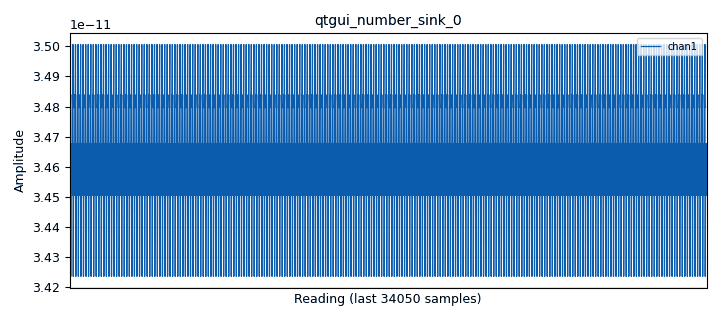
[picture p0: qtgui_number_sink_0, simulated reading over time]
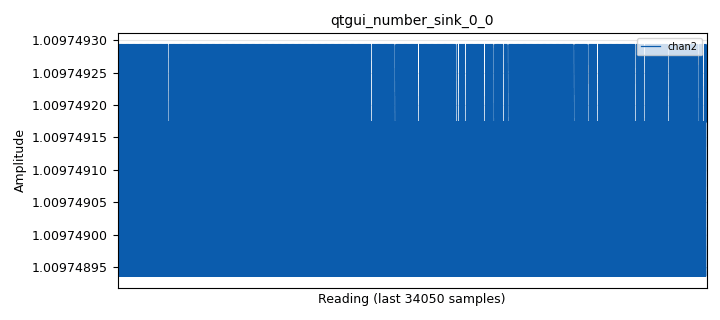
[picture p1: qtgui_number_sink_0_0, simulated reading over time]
<?xml version='1.0' encoding='utf-8'?>
<?grc format='1' created='3.7.14'?>
<flow_graph>
<block>
<key>options</key>
<param><key>id</key><value>top_block</value></param>
<param><key>generate_options</key><value>qt_gui</value></param>
</block>
<block>
<key>variable</key>
<param><key>id</key><value>samp_rate</value></param>
<param><key>value</key><value>32000</value></param>
</block>
<block>
<key>variable_qtgui_range</key>
<param><key>id</key><value>variable_qtgui_range_0</value></param>
<param><key>value</key><value>1000</value></param>
<param><key>orient</key><value>Qt.Horizontal</value></param>
<param><key>start</key><value>0</value></param>
<param><key>step</key><value>1</value></param>
<param><key>stop</key><value>3200</value></param>
</block>
<block>
<key>analog_sig_source_x</key>
<param><key>id</key><value>analog_sig_source_x_0</value></param>
<param><key>amp</key><value>1</value></param>
<param><key>freq</key><value>variable_qtgui_range_0</value></param>
<param><key>offset</key><value>0</value></param>
<param><key>type</key><value>complex</value></param>
<param><key>samp_rate</key><value>samp_rate</value></param>
<param><key>waveform</key><value>analog.GR_COS_WAVE</value></param>
</block>
<block>
<key>blocks_complex_to_mag_squared</key>
<param><key>id</key><value>blocks_complex_to_mag_squared_0</value></param>
</block>
<block>
<key>blocks_complex_to_mag_squared</key>
<param><key>id</key><value>blocks_complex_to_mag_squared_0_0</value></param>
</block>
<block>
<key>blocks_complex_to_mag_squared</key>
<param><key>id</key><value>blocks_complex_to_mag_squared_0_0_0</value></param>
</block>
<block>
<key>blocks_throttle</key>
<param><key>id</key><value>blocks_throttle_0</value></param>
<param><key>samples_per_second</key><value>samp_rate</value></param>
<param><key>type</key><value>complex</value></param>
</block>
<block>
<key>pfb_channelizer_ccf</key>
<param><key>id</key><value>pfb_channelizer_ccf_0</value></param>
<param><key>atten</key><value>100</value></param>
<param><key>bus_conns</key><value>[[0,],]</value></param>
<param><key>ch_map</key><value>[]</value></param>
<param><key>nchans</key><value>3</value></param>
<param><key>osr</key><value>1.0</value></param>
</block>
<block>
<key>qtgui_number_sink</key>
<param><key>id</key><value>qtgui_number_sink_0</value></param>
<param><key>graph_type</key><value>qtgui.NUM_GRAPH_HORIZ</value></param>
<param><key>type</key><value>float</value></param>
<param><key>label1</key><value>chan1</value></param>
</block>
<block>
<key>qtgui_number_sink</key>
<param><key>id</key><value>qtgui_number_sink_0_0</value></param>
<param><key>graph_type</key><value>qtgui.NUM_GRAPH_HORIZ</value></param>
<param><key>type</key><value>float</value></param>
<param><key>label1</key><value>chan2</value></param>
</block>
<block>
<key>qtgui_number_sink</key>
<param><key>id</key><value>qtgui_number_sink_0_0_0</value></param>
<param><key>graph_type</key><value>qtgui.NUM_GRAPH_HORIZ</value></param>
<param><key>type</key><value>float</value></param>
<param><key>label1</key><value>chan3</value></param>
</block>
<block>
<key>rational_resampler_xxx</key>
<param><key>id</key><value>rational_resampler_xxx_0</value></param>
<param><key>decim</key><value>10</value></param>
<param><key>interp</key><value>1</value></param>
<param><key>taps</key><value></value></param>
<param><key>type</key><value>ccc</value></param>
</block>
<connection><source_block_id>analog_sig_source_x_0</source_block_id><sink_block_id>blocks_throttle_0</sink_block_id><source_key>0</source_key><sink_key>0</sink_key></connection>
<connection><source_block_id>blocks_complex_to_mag_squared_0</source_block_id><sink_block_id>qtgui_number_sink_0</sink_block_id><source_key>0</source_key><sink_key>0</sink_key></connection>
<connection><source_block_id>blocks_complex_to_mag_squared_0_0</source_block_id><sink_block_id>qtgui_number_sink_0_0</sink_block_id><source_key>0</source_key><sink_key>0</sink_key></connection>
<connection><source_block_id>blocks_complex_to_mag_squared_0_0_0</source_block_id><sink_block_id>qtgui_number_sink_0_0_0</sink_block_id><source_key>0</source_key><sink_key>0</sink_key></connection>
<connection><source_block_id>blocks_throttle_0</source_block_id><sink_block_id>rational_resampler_xxx_0</sink_block_id><source_key>0</source_key><sink_key>0</sink_key></connection>
<connection><source_block_id>pfb_channelizer_ccf_0</source_block_id><sink_block_id>blocks_complex_to_mag_squared_0</sink_block_id><source_key>0</source_key><sink_key>0</sink_key></connection>
<connection><source_block_id>pfb_channelizer_ccf_0</source_block_id><sink_block_id>blocks_complex_to_mag_squared_0_0</sink_block_id><source_key>1</source_key><sink_key>0</sink_key></connection>
<connection><source_block_id>pfb_channelizer_ccf_0</source_block_id><sink_block_id>blocks_complex_to_mag_squared_0_0_0</sink_block_id><source_key>2</source_key><sink_key>0</sink_key></connection>
<connection><source_block_id>rational_resampler_xxx_0</source_block_id><sink_block_id>pfb_channelizer_ccf_0</sink_block_id><source_key>0</source_key><sink_key>0</sink_key></connection>
</flow_graph>
